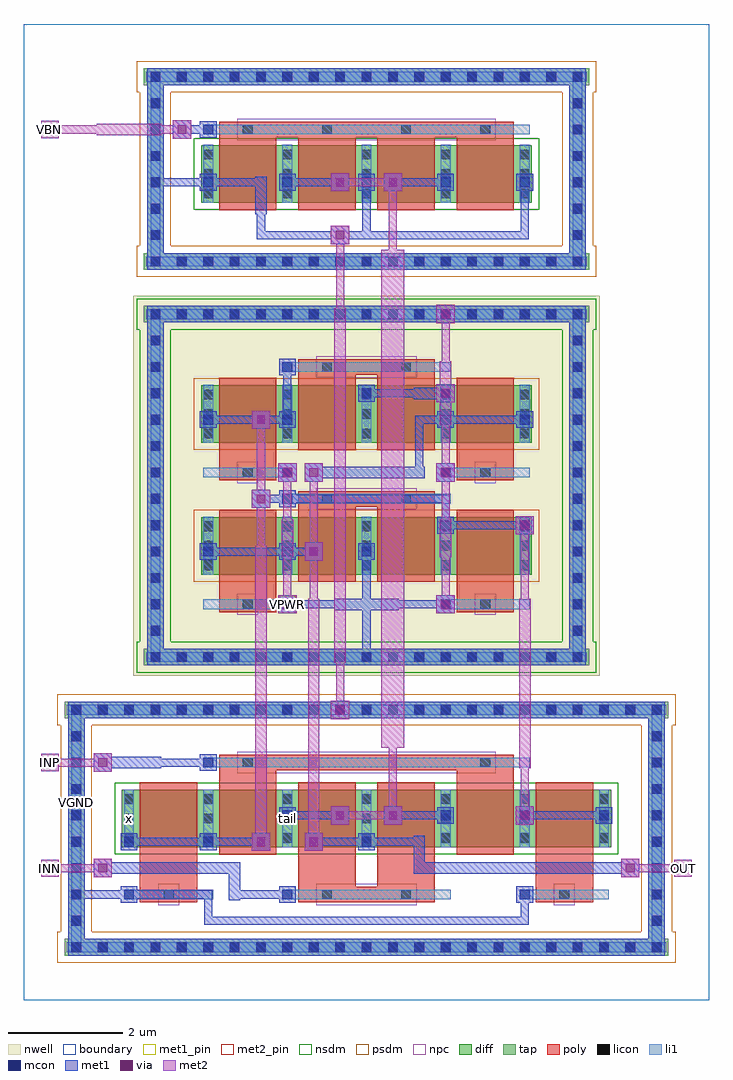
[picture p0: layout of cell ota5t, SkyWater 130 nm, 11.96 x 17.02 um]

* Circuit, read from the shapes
.subckt ota5t INN INP OUT VBN VGND VPWR tail x
XM1 x VGND x VGND sky130_fd_pr__nfet_01v8 w=1 l=1 m=2
XM2 tail INP x VGND sky130_fd_pr__nfet_01v8 w=1 l=1 m=2
XM3 tail VBN VGND VGND sky130_fd_pr__nfet_01v8 w=1 l=1 m=4
XM4 OUT INN tail VGND sky130_fd_pr__nfet_01v8 w=1 l=1 m=2
XM5 OUT VPWR OUT VPWR sky130_fd_pr__pfet_01v8 w=1 l=1 m=2
XM6 x VPWR x VPWR sky130_fd_pr__pfet_01v8 w=1 l=1 m=2
XM7 VPWR x OUT VPWR sky130_fd_pr__pfet_01v8 w=1 l=1 m=2
XM8 VPWR x x VPWR sky130_fd_pr__pfet_01v8 w=1 l=1 m=2
.ends

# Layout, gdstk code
import gdstk
lib = gdstk.Library(unit=1e-6, precision=1e-09)
def R(c, l, rs):  # rectangles x0, y0, x1, y1
    for r in rs: c.add(gdstk.rectangle(r[:2], r[2:], *l))
def A(c, l, x, y, w, h, nx, ny, dx, dy):  # array of equal rectangles
    R(c, l, [(x+i*dx, y+j*dy, x+i*dx+w, y+j*dy+h) for i in range(nx) for j in range(ny)])
nwell = (64, 20)
diff = (65, 20)
tap = (65, 44)
poly = (66, 20)
licon = (66, 44)
li1 = (67, 20)
mcon = (67, 44)
met1_pin = (68, 16)
met1 = (68, 20)
via = (68, 44)
met2_pin = (69, 16)
met2 = (69, 20)
nsdm = (93, 44)
psdm = (94, 20)
npc = (95, 20)
boundary = (235, 4)

ota5t = lib.new_cell('ota5t')
R(ota5t, nwell, [(1.915,5.655,10.045,12.285)])
R(ota5t, diff, [(1.715,2.665,10.245,3.665), (3.095,7.42,8.865,8.42), (3.095,9.72,8.865,10.72), (3.095,13.905,8.865,14.905)])
R(ota5t, tap, [(0.715,0.775,11.245,1.065), (0.775,0.775,1.065,5.205), (10.895,0.775,11.185,5.205), (0.715,4.915,11.245,5.205), (2.095,5.835,9.865,6.125), (2.155,5.835,2.445,12.105), (9.515,5.835,9.805,12.105), (2.095,11.815,9.865,12.105), (2.095,12.735,9.865,13.025), (2.155,12.735,2.445,16.245), (9.515,12.735,9.805,16.245), (2.095,15.955,9.865,16.245)])
A(ota5t, poly, 3.41, 13.775, 1, 1.405, 4, 1, 1.38, 0)
R(ota5t, poly, [(2.03,1.705,3.03,1.975), (4.79,1.705,7.17,1.975), (8.93,1.705,9.93,1.975), (2.03,1.84,3.03,3.795), (4.79,1.84,5.79,3.795), (6.17,1.84,7.17,3.795), (8.93,1.84,9.93,3.795), (3.41,2.535,4.41,4.14), (7.55,2.535,8.55,4.14), (3.41,4.005,8.55,4.275), (3.41,6.765,4.41,7.035), (7.55,6.765,8.55,7.035), (3.41,6.9,4.41,8.55), (7.55,6.9,8.55,8.55), (4.79,7.29,5.79,8.74), (6.17,7.29,7.17,8.74), (4.79,8.605,7.17,8.875), (3.41,9.065,4.41,9.335), (7.55,9.065,8.55,9.335), (3.41,9.2,4.41,10.85), (7.55,9.2,8.55,10.85), (4.79,9.59,5.79,11.04), (6.17,9.59,7.17,11.04), (4.79,10.905,7.17,11.175), (3.41,15.045,8.55,15.315)])
A(ota5t, licon, 0.835, 0.835, 0.17, 0.17, 23, 2, 0.46, 4.14)
A(ota5t, licon, 0.835, 1.295, 0.17, 0.17, 1, 8, 0, 0.46)
A(ota5t, licon, 10.955, 1.295, 0.17, 0.17, 1, 8, 0, 0.46)
A(ota5t, licon, 1.755, 2.74, 0.17, 0.17, 7, 3, 1.38, 0.34)
A(ota5t, licon, 2.215, 5.895, 0.17, 0.17, 17, 2, 0.46, 5.98)
A(ota5t, licon, 2.215, 6.355, 0.17, 0.17, 1, 12, 0, 0.46)
A(ota5t, licon, 9.575, 6.355, 0.17, 0.17, 1, 12, 0, 0.46)
A(ota5t, licon, 3.135, 7.495, 0.17, 0.17, 5, 3, 1.38, 0.34)
A(ota5t, licon, 3.135, 9.795, 0.17, 0.17, 5, 3, 1.38, 0.34)
A(ota5t, licon, 2.215, 12.795, 0.17, 0.17, 17, 2, 0.46, 3.22)
A(ota5t, licon, 2.215, 13.255, 0.17, 0.17, 1, 6, 0, 0.46)
A(ota5t, licon, 9.575, 13.255, 0.17, 0.17, 1, 6, 0, 0.46)
A(ota5t, licon, 3.135, 13.98, 0.17, 0.17, 5, 3, 1.38, 0.34)
A(ota5t, licon, 3.825, 15.095, 0.17, 0.17, 4, 1, 1.38, 0)
R(ota5t, licon, [(2.445,1.755,2.615,1.925), (5.205,1.755,5.375,1.925), (6.585,1.755,6.755,1.925), (9.345,1.755,9.515,1.925), (3.825,4.055,3.995,4.225), (7.965,4.055,8.135,4.225), (3.825,6.815,3.995,6.985), (7.965,6.815,8.135,6.985), (5.205,8.655,5.375,8.825), (6.585,8.655,6.755,8.825), (3.825,9.115,3.995,9.285), (7.965,9.115,8.135,9.285), (5.205,10.955,5.375,11.125), (6.585,10.955,6.755,11.125)])
A(ota5t, li1, 1.755, 2.66, 0.17, 1.01, 7, 1, 1.38, 0)
A(ota5t, li1, 3.135, 7.415, 0.17, 1.01, 5, 2, 1.38, 2.3)
A(ota5t, li1, 3.135, 13.9, 0.17, 1.01, 5, 1, 1.38, 0)
R(ota5t, li1, [(0.755,0.835,11.205,1.005), (0.835,0.835,1.005,5.145), (10.955,0.835,11.125,5.145), (1.755,1.755,3.305,1.925), (4.515,1.755,7.445,1.925), (8.655,1.755,10.205,1.925), (3.135,4.055,8.825,4.225), (0.755,4.975,11.205,5.145), (2.135,5.895,9.825,6.065), (2.215,5.895,2.385,12.045), (9.575,5.895,9.745,12.045), (3.135,6.815,4.685,6.985), (7.275,6.815,8.825,6.985), (4.515,8.655,7.445,8.825), (3.135,9.115,4.685,9.285), (7.275,9.115,8.825,9.285), (4.515,10.955,7.445,11.125), (2.135,11.875,9.825,12.045), (2.135,12.795,9.825,12.965), (2.215,12.795,2.385,16.185), (9.575,12.795,9.745,16.185), (3.135,15.095,8.825,15.265), (2.135,16.015,9.825,16.185)])
A(ota5t, mcon, 0.835, 0.835, 0.17, 0.17, 23, 2, 0.46, 4.14)
A(ota5t, mcon, 0.835, 1.295, 0.17, 0.17, 1, 8, 0, 0.46)
A(ota5t, mcon, 10.955, 1.295, 0.17, 0.17, 1, 8, 0, 0.46)
A(ota5t, mcon, 7.275, 3.135, 0.17, 0.17, 3, 1, 1.38, 0)
A(ota5t, mcon, 2.215, 5.895, 0.17, 0.17, 17, 2, 0.46, 5.98)
A(ota5t, mcon, 2.215, 6.355, 0.17, 0.17, 1, 9, 0, 0.46)
A(ota5t, mcon, 9.575, 6.355, 0.17, 0.17, 1, 9, 0, 0.46)
A(ota5t, mcon, 3.135, 7.735, 0.17, 0.17, 3, 1, 1.38, 0)
A(ota5t, mcon, 7.275, 8.195, 0.17, 0.17, 1, 3, 0, 0.92)
A(ota5t, mcon, 4.515, 9.115, 0.17, 0.17, 1, 3, 0, 0.92)
A(ota5t, mcon, 2.215, 10.495, 0.17, 0.17, 3, 1, 3.68, 0)
A(ota5t, mcon, 2.215, 12.795, 0.17, 0.17, 17, 2, 0.46, 3.22)
A(ota5t, mcon, 2.215, 13.255, 0.17, 0.17, 1, 6, 0, 0.46)
A(ota5t, mcon, 9.575, 13.255, 0.17, 0.17, 1, 6, 0, 0.46)
A(ota5t, mcon, 3.135, 14.175, 0.17, 0.17, 5, 1, 1.38, 0)
R(ota5t, mcon, [(1.755,1.755,1.925,1.925), (4.515,1.755,4.685,1.925), (8.655,1.755,8.825,1.925), (1.755,2.675,1.925,2.845), (3.135,2.675,3.305,2.845), (5.895,2.675,6.065,2.845), (4.515,3.135,4.685,3.305), (3.135,4.055,3.305,4.225), (4.515,6.815,4.685,6.985), (7.275,6.815,7.445,6.985), (8.655,8.195,8.825,8.365), (4.515,8.655,4.685,8.825), (3.135,10.035,3.305,10.205), (8.655,10.035,8.825,10.205), (2.215,10.955,2.385,11.125), (9.575,10.955,9.745,11.125), (2.215,11.415,2.385,11.585), (9.575,11.415,9.745,11.585), (3.135,15.095,3.305,15.265)])
R(ota5t, met1_pin, [(0.85,1.77,0.99,5.13), (4.455,6.755,4.745,7.045)])
A(ota5t, met1, 7.215, 3.075, 0.29, 0.29, 3, 1, 1.38, 0)
A(ota5t, met1, 3.075, 7.675, 0.29, 0.29, 3, 1, 1.38, 0)
A(ota5t, met1, 7.215, 8.135, 0.29, 0.29, 1, 3, 0, 0.92)
A(ota5t, met1, 7.2, 9.04, 0.32, 0.32, 1, 3, 0, 1.38)
A(ota5t, met1, 4.455, 9.055, 0.29, 0.29, 1, 3, 0, 0.92)
A(ota5t, met1, 3.075, 14.115, 0.29, 0.29, 5, 1, 1.38, 0)
R(ota5t, met1, [(0.775,0.775,11.185,1.065), (0.775,0.775,1.065,5.205), (10.895,0.775,11.185,5.205), (3.15,1.31,3.29,1.91), (3.15,1.31,8.81,1.45), (8.67,1.31,8.81,1.91), (1.695,1.695,1.985,1.985), (4.455,1.695,4.745,1.985), (8.595,1.695,8.885,1.985), (3.58,1.74,3.78,2.4), (0.85,1.77,1.91,1.91), (0.85,1.77,0.99,5.13), (1.77,1.77,3.29,1.91), (3.61,1.77,4.67,1.91), (1.22,2.14,1.54,2.46), (10.42,2.14,10.74,2.46), (1.28,2.2,3.78,2.4), (6.8,2.2,7,2.86), (6.8,2.2,10.68,2.4), (3.98,2.6,4.3,2.92), (4.9,2.6,5.22,2.92), (1.695,2.615,1.985,2.905), (3.075,2.615,3.365,2.905), (5.835,2.615,6.125,2.905), (1.77,2.69,3.29,2.83), (3.15,2.69,4.21,2.83), (4.99,2.69,6.05,2.83), (5.91,2.69,6.97,2.83), (5.36,3.06,5.68,3.38), (6.28,3.06,6.6,3.38), (8.58,3.06,8.9,3.38), (4.455,3.075,4.745,3.365), (4.53,3.15,5.59,3.29), (6.37,3.15,7.43,3.29), (8.67,3.15,10.19,3.29), (1.22,3.98,1.54,4.3), (3.075,3.995,3.365,4.285), (1.28,4.04,2.4,4.24), (2.23,4.07,3.29,4.21), (5.36,4.9,5.68,5.22), (0.775,4.915,11.185,5.205), (0.85,4.99,0.99,5.13), (0.85,4.99,5.59,5.13), (5.45,4.99,5.59,5.13), (2.155,5.835,9.805,6.125), (2.155,5.835,2.445,12.105), (9.515,5.835,9.805,12.105), (5.91,5.91,6.05,6.05), (5.91,5.91,6.05,7.89), (4.44,6.74,4.76,7.06), (7.2,6.74,7.52,7.06), (4.455,6.755,4.745,7.045), (7.215,6.755,7.505,7.045), (5.42,6.8,6.08,7), (5.88,6.8,6.54,7), (4.53,6.83,5.59,6.97), (6.37,6.83,7.43,6.97), (4.9,7.66,5.22,7.98), (3.15,7.75,4.67,7.89), (4.53,7.75,5.13,7.89), (8.58,8.12,8.9,8.44), (8.595,8.135,8.885,8.425), (7.29,8.21,7.43,8.81), (7.29,8.21,8.81,8.35), (3.98,8.58,4.3,8.9), (4.455,8.595,4.745,8.885), (4.07,8.67,4.67,8.81), (4.53,8.67,7.43,8.81), (4.44,9.04,4.76,9.36), (4.9,9.04,5.22,9.36), (4.96,9.1,7,9.3), (6.83,9.13,6.97,10.19), (3.98,9.96,4.3,10.28), (3.075,9.975,3.365,10.265), (8.595,9.975,8.885,10.265), (3.15,10.05,4.21,10.19), (4.07,10.05,4.67,10.19), (4.53,10.05,4.67,11.11), (6.83,10.05,7.43,10.19), (7.29,10.05,8.81,10.19), (5.835,10.435,6.125,10.725), (6.8,10.48,7.46,10.68), (5.91,10.51,6.97,10.65), (2.155,11.815,9.805,12.105), (7.29,11.89,7.43,12.03), (2.155,12.735,9.805,13.025), (2.155,12.735,2.445,16.245), (9.515,12.735,9.805,16.245), (5.36,13.18,5.68,13.5), (4.07,13.27,4.21,13.87), (4.07,13.27,6.05,13.41), (5.91,13.27,8.81,13.41), (5.91,13.27,6.05,14.33), (8.67,13.27,8.81,14.33), (4.04,13.7,4.24,14.36), (5.36,14.1,5.68,14.42), (6.28,14.1,6.6,14.42), (2.23,14.19,3.29,14.33), (2.23,14.19,2.37,14.33), (2.23,14.19,2.37,16.17), (3.15,14.19,4.21,14.33), (4.53,14.19,5.59,14.33), (6.37,14.19,7.43,14.33), (2.6,15.02,2.92,15.34), (3.075,15.035,3.365,15.325), (2.69,15.11,3.29,15.25), (2.155,15.955,9.805,16.245), (2.23,16.03,2.37,16.17)])
A(ota5t, via, 7.285, 9.125, 0.15, 0.15, 1, 3, 0, 1.38)
R(ota5t, via, [(1.305,2.225,1.455,2.375), (10.505,2.225,10.655,2.375), (4.065,2.685,4.215,2.835), (4.985,2.685,5.135,2.835), (5.445,3.145,5.595,3.295), (6.365,3.145,6.515,3.295), (8.665,3.145,8.815,3.295), (1.305,4.065,1.455,4.215), (5.445,4.985,5.595,5.135), (4.525,6.825,4.675,6.975), (7.285,6.825,7.435,6.975), (4.985,7.745,5.135,7.895), (8.665,8.205,8.815,8.355), (4.065,8.665,4.215,8.815), (4.525,9.125,4.675,9.275), (4.985,9.125,5.135,9.275), (4.065,10.045,4.215,10.195), (5.445,13.265,5.595,13.415), (5.445,14.185,5.595,14.335), (6.365,14.185,6.515,14.335), (2.685,15.105,2.835,15.255)])
R(ota5t, met2_pin, [(0.31,2.15,0.61,2.45), (11.35,2.15,11.65,2.45), (0.31,3.99,0.61,4.29), (0.31,15.03,0.61,15.33)])
A(ota5t, met2, 7.2, 9.04, 0.32, 0.32, 1, 3, 0, 1.38)
R(ota5t, met2, [(1.22,2.14,1.54,2.46), (10.42,2.14,10.74,2.46), (0.31,2.15,0.61,2.45), (11.35,2.15,11.65,2.45), (0.39,2.23,0.53,2.37), (0.39,2.23,1.45,2.37), (10.51,2.23,11.57,2.37), (11.43,2.23,11.57,2.37), (3.98,2.6,4.3,2.92), (4.9,2.6,5.22,2.92), (4.04,2.66,4.24,7.92), (4.96,2.66,5.16,7), (5.36,3.06,5.68,3.38), (6.28,3.06,6.6,3.38), (8.58,3.06,8.9,3.38), (5.45,3.15,6.51,3.29), (6.37,3.15,6.51,4.67), (8.67,3.15,8.81,4.21), (1.22,3.98,1.54,4.3), (0.31,3.99,0.61,4.29), (8.64,4.04,8.84,7), (0.39,4.07,0.53,4.21), (0.39,4.07,1.45,4.21), (6.24,4.4,6.64,13.08), (5.36,4.9,5.68,5.22), (5.45,4.99,5.59,6.05), (5.42,5.88,5.62,12.06), (4.44,6.74,4.76,7.06), (7.2,6.74,7.52,7.06), (4.53,6.83,4.67,7.89), (4.99,6.83,5.13,7.89), (7.29,6.83,7.43,7.89), (8.67,6.83,8.81,8.35), (4.9,7.66,5.22,7.98), (4.5,7.72,4.7,8.38), (7.26,7.72,7.46,8.38), (4.07,7.75,4.21,8.81), (4.99,7.75,5.13,9.27), (8.58,8.12,8.9,8.44), (4.53,8.21,4.67,9.27), (7.29,8.21,7.43,9.27), (3.98,8.58,4.3,8.9), (4.07,8.67,4.21,10.19), (4.44,9.04,4.76,9.36), (4.9,9.04,5.22,9.36), (7.29,9.13,7.43,10.19), (3.98,9.96,4.3,10.28), (7.26,10.02,7.46,11.14), (7.29,10.97,7.43,12.03), (5.45,11.89,5.59,13.41), (6.37,12.81,6.51,14.33), (5.36,13.18,5.68,13.5), (5.36,14.1,5.68,14.42), (6.28,14.1,6.6,14.42), (5.45,14.19,6.51,14.33), (2.6,15.02,2.92,15.34), (0.31,15.03,0.61,15.33), (1.28,15.08,2.4,15.28), (0.39,15.11,0.53,15.25), (0.39,15.11,1.45,15.25), (2.23,15.11,2.83,15.25)])
R(ota5t, nsdm, [(1.59,2.54,10.37,3.79), (1.97,5.71,9.99,6.25), (2.03,6.25,2.57,11.69), (9.39,6.25,9.93,11.69), (1.97,11.69,9.99,12.23), (2.97,13.78,8.99,15.03)])
R(ota5t, psdm, [(0.59,0.65,11.37,1.19), (0.65,1.19,1.19,4.79), (10.77,1.19,11.31,4.79), (0.59,4.79,11.37,5.33), (2.97,7.295,8.99,8.545), (2.97,9.595,8.99,10.845), (1.97,12.61,9.99,13.15), (2.03,13.15,2.57,15.83), (9.39,13.15,9.93,15.83), (1.97,15.83,9.99,16.37)])
R(ota5t, npc, [(2.345,1.655,2.715,2.025), (5.105,1.655,6.855,2.025), (9.245,1.655,9.615,2.025), (3.725,3.955,8.235,4.325), (3.725,6.715,4.095,7.085), (7.865,6.715,8.235,7.085), (5.105,8.555,6.855,8.925), (3.725,9.015,4.095,9.385), (7.865,9.015,8.235,9.385), (5.105,10.855,6.855,11.225), (3.725,14.995,8.235,15.365)])
R(ota5t, boundary, [(0,0,11.96,17.02)])
ota5t.add(gdstk.Label('x', (1.84,3.165), layer=67, texttype=5))
ota5t.add(gdstk.Label('tail', (4.6,3.165), layer=67, texttype=5))
ota5t.add(gdstk.Label('VPWR', (4.6,6.9), layer=68, texttype=5))
ota5t.add(gdstk.Label('VGND', (0.92,3.45), layer=68, texttype=5))
ota5t.add(gdstk.Label('INP', (0.46,4.14), layer=69, texttype=5))
ota5t.add(gdstk.Label('INN', (0.46,2.3), layer=69, texttype=5))
ota5t.add(gdstk.Label('VBN', (0.46,15.18), layer=69, texttype=5))
ota5t.add(gdstk.Label('OUT', (11.5,2.3), layer=69, texttype=5))
ota5t.add(gdstk.Label('VPWR', (4.6,6.9), layer=68, texttype=16))
ota5t.add(gdstk.Label('VGND', (0.92,3.45), layer=68, texttype=16))
ota5t.add(gdstk.Label('INP', (0.46,4.14), layer=69, texttype=16))
ota5t.add(gdstk.Label('INN', (0.46,2.3), layer=69, texttype=16))
ota5t.add(gdstk.Label('VBN', (0.46,15.18), layer=69, texttype=16))
ota5t.add(gdstk.Label('OUT', (11.5,2.3), layer=69, texttype=16))

lib.write_gds('ota5t.gds')
